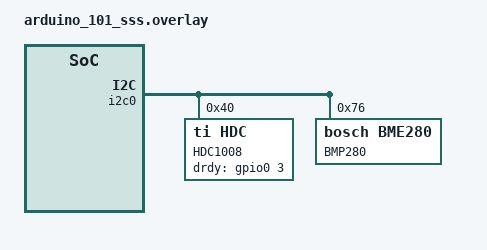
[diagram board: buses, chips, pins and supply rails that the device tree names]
/*
 *
 * Copyright (c) 2018, NXP
 *
 * SPDX-License-Identifier: Apache-2.0
 */

&i2c0 {

	ti_hdc: ti_hdc@40 {
		compatible = "ti,hdc","ti,hdc1008";
		reg = <0x40>;
		label = "HDC1008";
		drdy-gpios = <&gpio0 3 0>;
	};

	bmp280@76 {
		compatible = "bosch,bme280";
		reg = <0x76>;
		label = "BMP280";
	};

};
